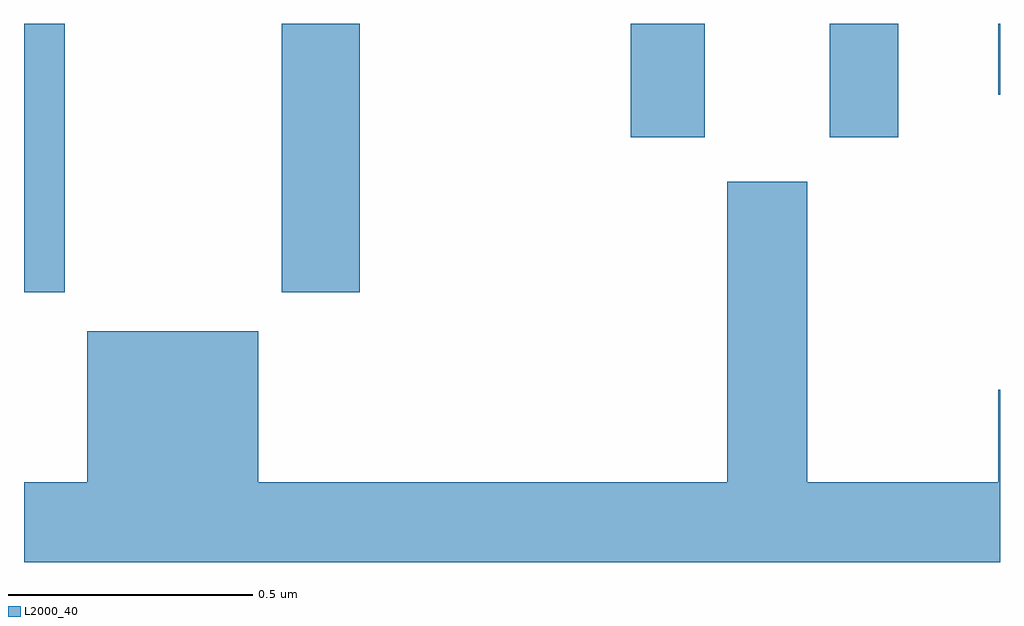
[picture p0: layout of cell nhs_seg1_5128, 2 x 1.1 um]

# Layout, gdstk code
import gdstk
lib = gdstk.Library(unit=1e-6, precision=1e-09)
def R(c, l, rs):  # rectangles x0, y0, x1, y1
    for r in rs: c.add(gdstk.rectangle(r[:2], r[2:], *l))
def P(c, l, *ps):  # polygons
    for p in ps: c.add(gdstk.Polygon(p, *l))
L2000_40 = (2000, 40)

nhs_seg1_5128 = lib.new_cell('nhs_seg1_5128')
R(nhs_seg1_5128, L2000_40, [(175,521.649,175.083,522.199), (175.528,521.649,175.688,522.199), (176.243,521.967,176.395,522.199), (176.651,521.967,176.791,522.199), (176.996,522.054,177,522.199)])
P(nhs_seg1_5128, L2000_40, [(177,521.449),(176.996,521.449),(176.996,521.26),(176.605,521.26),(176.605,521.875),(176.441,521.875),(176.441,521.26),(175.48,521.26),(175.48,521.569),(175.13,521.569),(175.13,521.26),(175,521.26),(175,521.096),(177,521.096)])

lib.write_gds('nhs_seg1_5128.gds')
